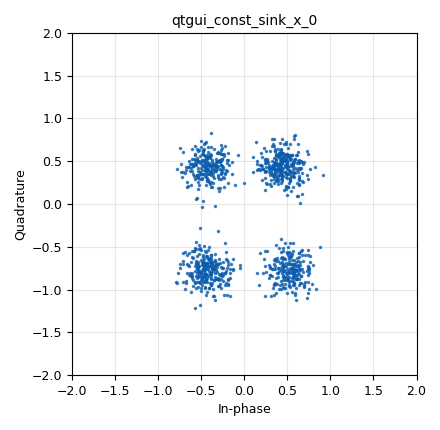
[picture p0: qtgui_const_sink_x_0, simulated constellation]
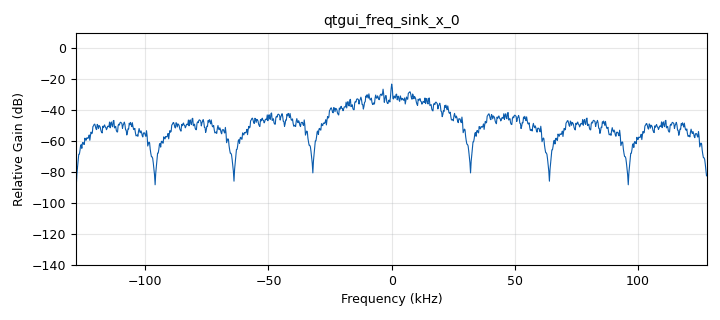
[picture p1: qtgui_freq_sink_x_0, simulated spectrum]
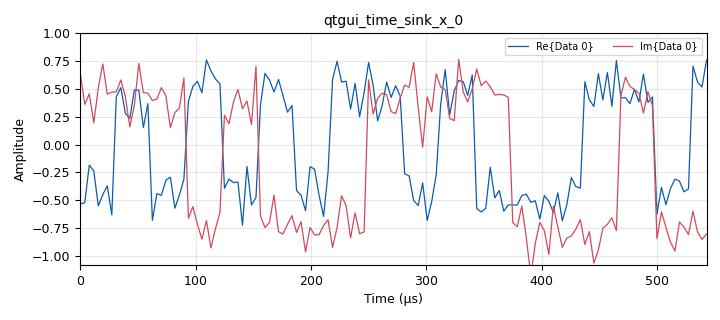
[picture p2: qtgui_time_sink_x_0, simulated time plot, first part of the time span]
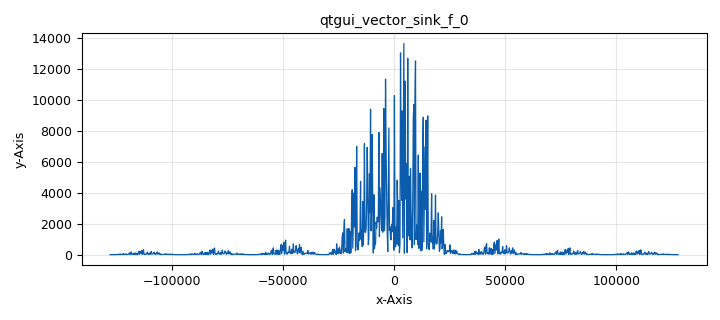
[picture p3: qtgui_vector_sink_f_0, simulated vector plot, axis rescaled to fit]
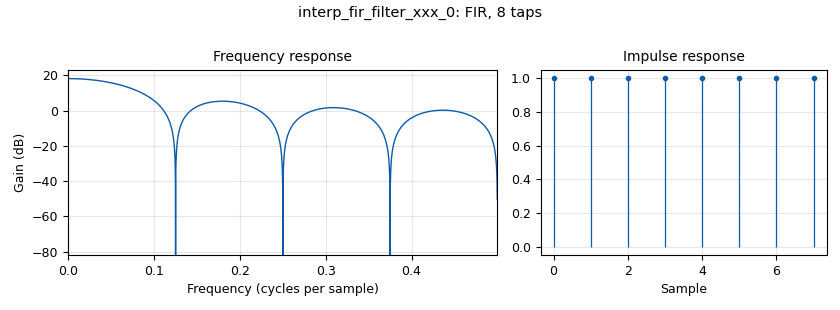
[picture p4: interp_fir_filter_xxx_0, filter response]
options:
  parameters:
    author: Usuario
    generate_options: qt_gui
    id: M_PSK
    output_language: python
    title: Practica_4
  states: {}

blocks:
- name: M
  id: variable
  parameters:
    value: len(tabla_de_verdad_constelacion)
  states: {}
- name: N
  id: variable
  parameters:
    value: '1024'
  states: {}
- name: Rb
  id: variable
  parameters:
    value: Rs
  states: {}
- name: Rs
  id: variable
  parameters:
    value: '32000'
  states: {}
- name: Sps
  id: variable
  parameters:
    value: '8'
  states: {}
- name: bps
  id: variable
  parameters:
    value: math.log(M,2)
  states: {}
- name: h
  id: variable
  parameters:
    value: '[1]*Sps'
  states: {}
- name: samp_rate
  id: variable
  parameters:
    value: Rs*Sps
  states: {}
- name: tabla_de_verdad_constelacion
  id: variable
  parameters:
    value: (0.44+0.44j, -0.44+0.44j, -0.44-0.77j, 0.5-0.77j)
  states: {}
- name: analog_noise_source_x_0
  id: analog_noise_source_x
  parameters:
    amp: '0.2'
    noise_type: analog.GR_GAUSSIAN
    seed: '0'
    type: complex
  states: {}
- name: analog_random_source_x_0
  id: analog_random_source_x
  parameters:
    max: '2'
    min: '0'
    num_samps: '1000'
    repeat: 'True'
    type: byte
  states: {}
- name: blocks_add_xx_0
  id: blocks_add_xx
  parameters:
    type: complex
  states: {}
- name: blocks_complex_to_mag_0
  id: blocks_complex_to_mag
  parameters:
    vlen: '1024'
  states: {}
- name: blocks_multiply_xx_0
  id: blocks_multiply_xx
  parameters:
    type: float
    vlen: '1024'
  states: {}
- name: blocks_pack_k_bits_bb_0
  id: blocks_pack_k_bits_bb
  parameters:
    k: '8'
  states: {}
- name: blocks_packed_to_unpacked_xx_0
  id: blocks_packed_to_unpacked_xx
  parameters:
    bits_per_chunk: '2'
    endianness: gr.GR_MSB_FIRST
    type: byte
  states: {}
- name: blocks_stream_to_vector_0
  id: blocks_stream_to_vector
  parameters:
    num_items: '1024'
    type: complex
  states: {}
- name: digital_chunks_to_symbols_xx_0
  id: digital_chunks_to_symbols_xx
  parameters:
    dimension: '1'
    in_type: byte
    out_type: complex
    symbol_table: tabla_de_verdad_constelacion
  states: {}
- name: fft_vxx_0
  id: fft_vxx
  parameters:
    fft_size: N
    forward: 'True'
    shift: 'True'
    type: complex
    window: '[1]*N'
  states: {}
- name: import_0
  id: import
  parameters:
    imports: import math
  states: {}
- name: interp_fir_filter_xxx_0
  id: interp_fir_filter_xxx
  parameters:
    interp: Sps
    taps: h
    type: ccc
  states: {}
- name: qtgui_const_sink_x_0
  id: qtgui_const_sink_x
  parameters:
    size: '1024'
    type: complex
  states: {}
- name: qtgui_freq_sink_x_0
  id: qtgui_freq_sink_x
  parameters:
    average: '0.05'
    bw: samp_rate
    fc: '0'
    fftsize: '1024'
    type: complex
  states: {}
- name: qtgui_time_sink_x_0
  id: qtgui_time_sink_x
  parameters:
    size: '1024'
    srate: samp_rate
    type: complex
  states: {}
- name: qtgui_vector_sink_f_0
  id: qtgui_vector_sink_f
  parameters:
    vlen: '1024'
    x_start: '-samp_rate/2'
    x_step: samp_rate/N
  states: {}
- name: virtual_sink_0
  id: virtual_sink
  parameters:
    stream_id: p1
  states: {}
- name: virtual_sink_1
  id: virtual_sink
  parameters:
    stream_id: p0
  states: {}
- name: virtual_source_0
  id: virtual_source
  parameters:
    stream_id: p1
  states: {}
- name: virtual_source_0_0
  id: virtual_source
  parameters:
    stream_id: p0
  states: {}

connections:
- [analog_noise_source_x_0, '0', blocks_add_xx_0, '0']
- [analog_random_source_x_0, '0', blocks_pack_k_bits_bb_0, '0']
- [blocks_add_xx_0, '0', virtual_sink_0, '0']
- [blocks_complex_to_mag_0, '0', blocks_multiply_xx_0, '0']
- [blocks_complex_to_mag_0, '0', blocks_multiply_xx_0, '1']
- [blocks_multiply_xx_0, '0', qtgui_vector_sink_f_0, '0']
- [blocks_pack_k_bits_bb_0, '0', blocks_packed_to_unpacked_xx_0, '0']
- [blocks_packed_to_unpacked_xx_0, '0', digital_chunks_to_symbols_xx_0, '0']
- [blocks_stream_to_vector_0, '0', fft_vxx_0, '0']
- [digital_chunks_to_symbols_xx_0, '0', interp_fir_filter_xxx_0, '0']
- [fft_vxx_0, '0', blocks_complex_to_mag_0, '0']
- [interp_fir_filter_xxx_0, '0', blocks_add_xx_0, '1']
- [interp_fir_filter_xxx_0, '0', blocks_stream_to_vector_0, '0']
- [interp_fir_filter_xxx_0, '0', virtual_sink_1, '0']
- [virtual_source_0, '0', qtgui_const_sink_x_0, '0']
- [virtual_source_0, '0', qtgui_time_sink_x_0, '0']
- [virtual_source_0_0, '0', qtgui_freq_sink_x_0, '0']

metadata:
  file_format: 1
  grc_version: v3.10.11.0-89-ga17f69e7
